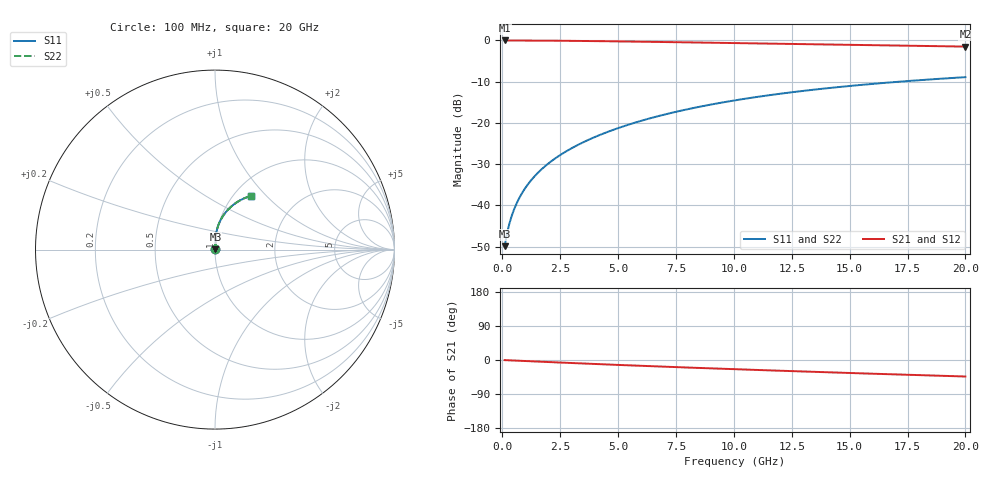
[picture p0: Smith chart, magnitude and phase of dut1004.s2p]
! Touchstone file exported from HFSS 2024.1.0
!  File:  C:/UserFiles/LocalFiles/RDL_TSV_Batchsim/temp_RDL_bottom_1004_1780050078.aedt
!  Generated:  06:23:27 PM May 29, 2026
!  Design:  RDL_bottom
!  Project:  temp_RDL_bottom_1004_1780050078
!  Setup:  Setup1
!  Solution:  Sweep
! Variables:
!  dtsv = 10.80580581um
!  hbump = 3um
!  htsv = 59.89um
!  ldown = 640.47um
!  lrdl = 100um
!  p = 40
!  p1 = 52.08um
!  rhole = 1um
!  t = 450um
!  tdown = 3.67um
!  trdl = 3.915915916um
!  wdown = 25.73um
!  wrdl = 20um
# GHz S MA R 50.000000
! Terminal data exported
! Port[1] = RDL1_T1
! Port[2] = RDL1_T2
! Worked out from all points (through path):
!   200 points, 100 MHz to 20 GHz, reference 50 ohm
!   highest |S21| = -0.02 dB at 100 MHz (marker M1); lowest = -1.5 dB at 20 GHz (marker M2)
!   group delay of S21, straight-line fit = 5.98 ps
!   lowest |S11| = -49.9 dB at 100 MHz (marker M3), VSWR 1.01, Z = 50.3 + j0.183 ohm
!   |S11| at or under -10 dB: start of sweep to 17.19 GHz
!   |S22| runs from -49.9 to -8.9 dB; largest |S21 - S12| = 4.1e-15
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0.1  0.003202 34.7  0.9974 -0.3  0.9974 -0.3  0.003202 34.7
! Gamma 0 0 0 0
! Port Impedance 50 0 50 0
0.2  0.004507 51.5  0.9971 -0.6  0.9971 -0.6  0.004507 51.5
0.3  0.005925 60.1  0.9969 -0.8  0.9969 -0.8  0.005925 60.1
0.4  0.007361 65.4  0.9967 -1.1  0.9967 -1.1  0.007361 65.4
0.5  0.008812 69.2  0.9965 -1.4  0.9965 -1.4  0.008812 69.2
0.6  0.01028 72.0  0.9963 -1.6  0.9963 -1.6  0.01028 72.0
0.8  0.01328 76.0  0.9959 -2.2  0.9959 -2.2  0.01328 76.0
1.1  0.0179 79.7  0.9952 -3.0  0.9952 -3.0  0.0179 79.7
1.3  0.02103 81.3  0.9946 -3.5  0.9946 -3.5  0.02104 81.3
1.6  0.02582 83.0  0.9935 -4.3  0.9935 -4.3  0.02582 83.1
2.1  0.034 84.8  0.9914 -5.7  0.9914 -5.7  0.03401 84.8
2.7  0.04415 86.0  0.9883 -7.2  0.9883 -7.2  0.04416 86.0
3.5  0.05826 86.6  0.9833 -9.3  0.9833 -9.3  0.05827 86.6
4.2  0.07113 86.5  0.9782 -11.0  0.9782 -11.0  0.07114 86.5
5  0.08634 86.0  0.9719 -13.0  0.9719 -13.0  0.08637 86.0
6.8  0.122 83.5  0.9564 -17.2  0.9564 -17.2  0.122 83.6
8.4  0.1544 80.6  0.9421 -20.8  0.9421 -20.8  0.1544 80.6
10.1  0.1885 77.1  0.9268 -24.4  0.9268 -24.4  0.1886 77.1
11.7  0.2197 73.6  0.9125 -27.7  0.9125 -27.7  0.2198 73.6
13.4  0.2516 69.9  0.8974 -31.1  0.8974 -31.1  0.2517 69.9
16.7  0.3084 63.0  0.8685 -37.5  0.8685 -37.5  0.3085 63.0
20  0.3582 56.4  0.8404 -43.6  0.8404 -43.6  0.3583 56.4
